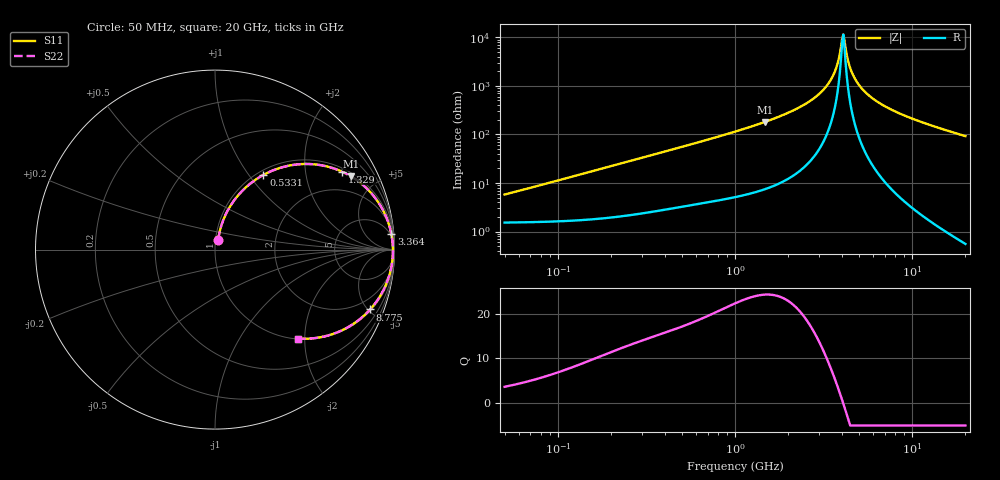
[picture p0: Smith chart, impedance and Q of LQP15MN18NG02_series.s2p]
!Murata Part Number: LQP15MN18NG02
!These Parameters are Measured in Series Mode Connection
!  o--[Z]--o
!Port1  Port2
!  o-------o
!Freq. Start=50[MHz] Stop=20[GHz], 401[Steps]
# Hz S RI R 50
!Freq.(Hz) S11(Real) S11(Imag) S21(Real) S21(Imag) S12(Real) S12(Imag) S22(Real) S22(Imag)
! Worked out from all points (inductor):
!   401 points, 50 MHz to 20 GHz, reference 50 ohm
!   read as one part in series: L = 17.8 nH near 51.52 MHz
!   highest Q = 24.3 at 1.476 GHz (marker M1), where L = 19.5 nH
!   self-resonance near 4.027 GHz
!   S11 on the Smith chart (normalised r, x): 50 MHz: 1.03, +0.11; 533.1 MHz: 1.07, +1.18; 1.329 GHz: 1.13, +3.17; 3.364 GHz: 3, +22; 8.775 GHz: 1.09, -5.14; 20 GHz: 1.01, -1.85
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5e7  0.0181 0.054  0.9819 -0.054  0.9819 -0.054  0.0181 0.054
1.364002e8  0.0385 0.1438  0.9615 -0.1438  0.9615 -0.1438  0.0385 0.1438
3.721004e8  0.161 0.3363  0.839 -0.3363  0.839 -0.3363  0.161 0.3363
5.330693e8  0.2699 0.4163  0.7301 -0.4163  0.7301 -0.4163  0.2699 0.4163
1e9  0.5629 0.4741  0.4371 -0.4741  0.4371 -0.4741  0.5629 0.4741
1.329223e9  0.7083 0.4342  0.2917 -0.4342  0.2917 -0.4342  0.7083 0.4342
1.476162e9  0.7575 0.4085  0.2425 -0.4085  0.2425 -0.4085  0.7575 0.4085
2.083303e9  0.8894 0.2921  0.1106 -0.2921  0.1106 -0.2921  0.8894 0.2921
2.728004e9  0.9547 0.18  0.0453 -0.18  0.0453 -0.18  0.9547 0.18
3.364474e9  0.9826 0.0872  0.0174 -0.0872  0.0174 -0.0872  0.9826 0.0872
3.680849e9  0.9886 0.0468  0.0114 -0.0468  0.0114 -0.0468  0.9886 0.0468
3.792786e9  0.9899 0.0332  0.0101 -0.0332  0.0101 -0.0332  0.9899 0.0332
3.967106e9  0.9911 0.0129  0.00895 -0.0129  0.00895 -0.0129  0.9911 0.0129
4.087748e9  0.9914 -0.000692  0.00864 0.000692  0.00864 0.000692  0.9914 -0.000692
4.212059e9  0.9913 -0.0143  0.00872 0.0143  0.00872 0.0143  0.9913 -0.0143
4.472136e9  0.99 -0.0415  0.01 0.0415  0.01 0.0415  0.99 -0.0415
4.966507e9  0.984 -0.089  0.016 0.089  0.016 0.089  0.984 -0.089
5.856089e9  0.965 -0.163  0.035 0.163  0.035 0.163  0.965 -0.163
7.442007e9  0.9149 -0.2672  0.0851 0.2672  0.0851 0.2672  0.9149 -0.2672
8.774992e9  0.8643 -0.3337  0.1357 0.3337  0.1357 0.3337  0.8643 -0.3337
1.354865e10  0.6717 -0.4648  0.3283 0.4648  0.3283 0.4648  0.6717 -0.4648
2e10  0.4601 -0.4954  0.5399 0.4954  0.5399 0.4954  0.4601 -0.4954
